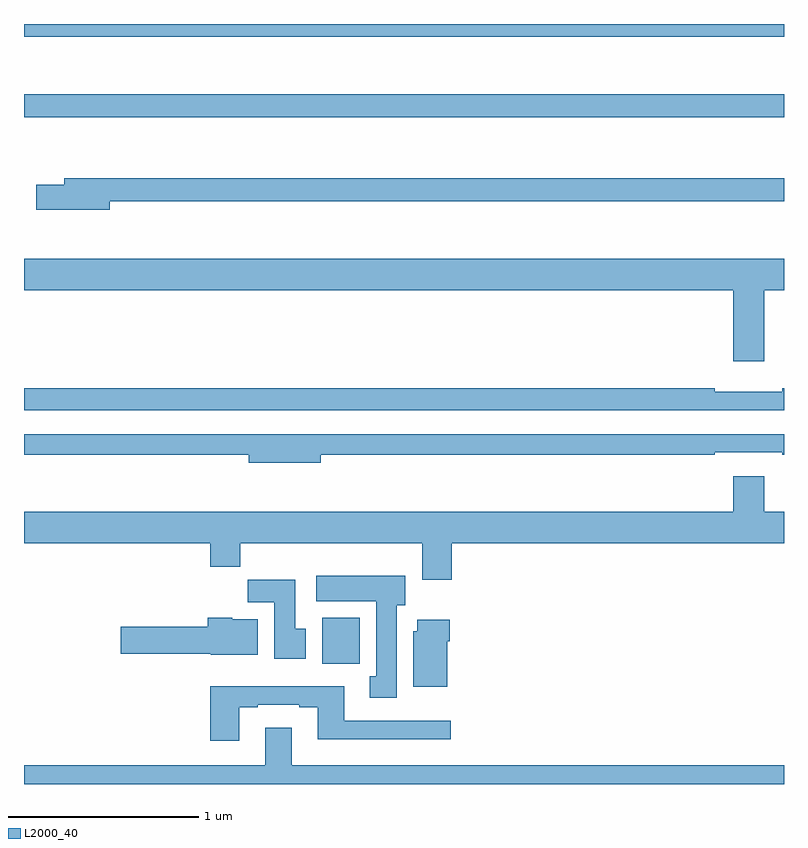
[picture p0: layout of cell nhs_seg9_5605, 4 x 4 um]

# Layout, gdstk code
import gdstk
lib = gdstk.Library(unit=1e-6, precision=1e-09)
def R(c, l, rs):  # rectangles x0, y0, x1, y1
    for r in rs: c.add(gdstk.rectangle(r[:2], r[2:], *l))
def P(c, l, *ps):  # polygons
    for p in ps: c.add(gdstk.Polygon(p, *l))
L2000_40 = (2000, 40)

nhs_seg9_5605 = lib.new_cell('nhs_seg9_5605')
R(nhs_seg9_5605, L2000_40, [(438.569,1181.132,438.766,1181.374), (437,1184.01,441,1184.131), (437,1184.432,441,1184.5)])
P(nhs_seg9_5605, L2000_40, [(437.452,1183.566),(441,1183.566),(441,1183.687),(437.213,1183.687),(437.213,1183.653),(437.064,1183.653),(437.064,1183.523),(437.452,1183.523)],
  [(440.896,1183.1),(441,1183.1),(441,1183.264),(437,1183.264),(437,1183.1),(440.732,1183.1),(440.732,1182.726),(440.896,1182.726)],
  [(441,1182.584),(440.992,1182.584),(440.992,1182.565),(440.636,1182.565),(440.636,1182.584),(437,1182.584),(437,1182.468),(441,1182.468)],
  [(438.562,1182.234),(440.636,1182.234),(440.636,1182.246),(440.992,1182.246),(440.992,1182.234),(441,1182.234),(441,1182.342),(437,1182.342),(437,1182.234),(438.182,1182.234),(438.182,1182.191),(438.562,1182.191)],
  [(439.25,1181.768),(441,1181.768),(441,1181.932),(440.896,1181.932),(440.896,1182.121),(440.732,1182.121),(440.732,1181.932),(437,1181.932),(437,1181.768),(437.981,1181.768),(437.981,1181.644),(438.137,1181.644),(438.137,1181.768),(439.097,1181.768),(439.097,1181.574),(439.25,1181.574)],
  [(438.961,1181.442),(439.006,1181.442),(439.006,1181.596),(438.537,1181.596),(438.537,1181.462),(438.854,1181.462),(438.854,1181.066),(438.821,1181.066),(438.821,1180.953),(438.961,1180.953)],
  [(438.484,1181.316),(438.427,1181.316),(438.427,1181.575),(438.178,1181.575),(438.178,1181.456),(438.317,1181.456),(438.317,1181.16),(438.484,1181.16)],
  [(438.229,1181.368),(438.096,1181.368),(438.096,1181.374),(437.966,1181.374),(437.966,1181.328),(437.508,1181.328),(437.508,1181.186),(437.982,1181.186),(437.982,1181.18),(438.229,1181.18)],
  [(439.228,1181.252),(439.241,1181.252),(439.241,1181.365),(439.07,1181.365),(439.07,1181.304),(439.049,1181.304),(439.049,1181.012),(439.228,1181.012)],
  [(438.133,1180.905),(438.229,1180.905),(438.229,1180.917),(438.449,1180.917),(438.449,1180.905),(438.545,1180.905),(438.545,1180.736),(439.246,1180.736),(439.246,1180.833),(438.685,1180.833),(438.685,1181.014),(437.981,1181.014),(437.981,1180.728),(438.133,1180.728)],
  [(437,1180.5),(441,1180.5),(441,1180.6),(438.409,1180.6),(438.409,1180.795),(438.269,1180.795),(438.269,1180.6),(437,1180.6)])

lib.write_gds('nhs_seg9_5605.gds')
